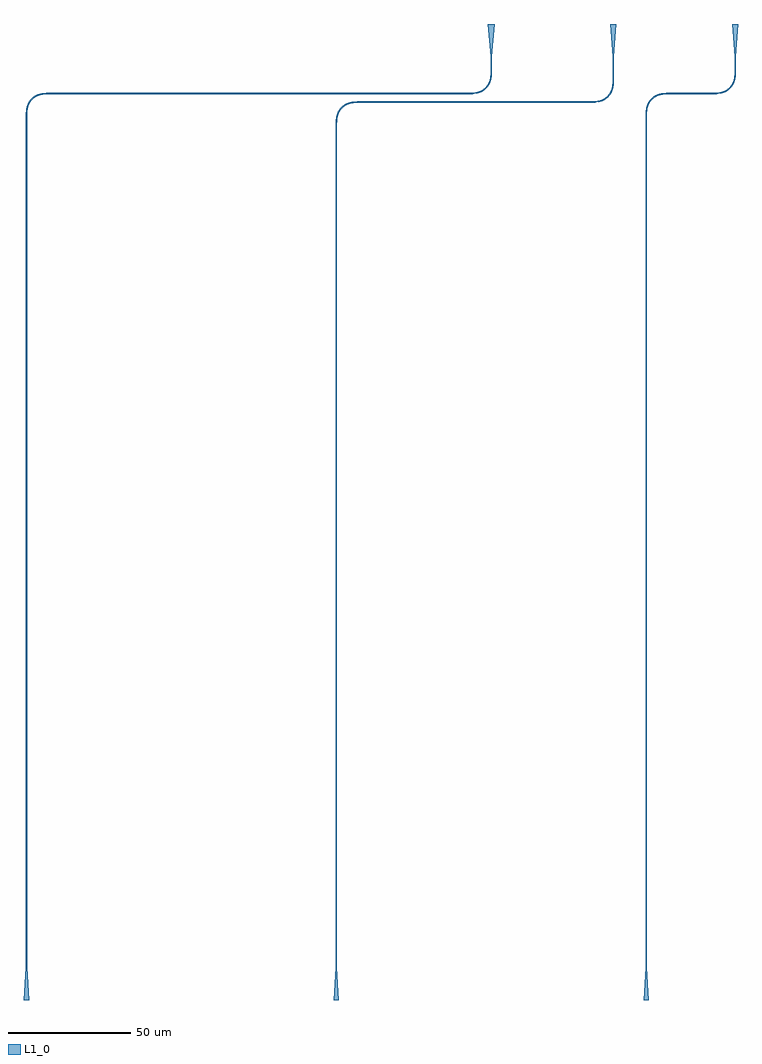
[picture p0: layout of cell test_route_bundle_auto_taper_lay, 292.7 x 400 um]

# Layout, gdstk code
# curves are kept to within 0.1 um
from math import pi, radians
import gdstk
lib = gdstk.Library(unit=1e-6, precision=1e-09)
def R(c, l, rs):  # rectangles x0, y0, x1, y1
    for r in rs: c.add(gdstk.rectangle(r[:2], r[2:], *l))
def P(c, l, *ps):  # polygons
    for p in ps: c.add(gdstk.Polygon(p, *l))
L1_0 = (1, 0)

taper_gdsfactorypcompon_ = lib.new_cell('taper_gdsfactorypcompon_380f8db8')
P(taper_gdsfactorypcompon_, L1_0, [(0,-1.35),(0,1.35),(13.5,0.25),(13.5,-0.25)])

c_taper_gdsfactorypcompon_ = lib.new_cell('taper_gdsfactorypcompon_f1aa99f8')
P(c_taper_gdsfactorypcompon_, L1_0, [(0,-1.25),(0,1.25),(13.5,0.25),(13.5,-0.25)])

c_taper_gdsfactorypcompon__ = lib.new_cell('taper_gdsfactorypcompon_1325192e')
P(c_taper_gdsfactorypcompon__, L1_0, [(0,-1.15),(0,1.15),(13.5,0.25),(13.5,-0.25)])

c_taper_gdsfactorypcompon___ = lib.new_cell('taper_gdsfactorypcompon_51c08482')
P(c_taper_gdsfactorypcompon___, L1_0, [(0,-1.05),(0,1.05),(13.5,0.25),(13.5,-0.25)])

c_taper_gdsfactorypcompon____ = lib.new_cell('taper_gdsfactorypcompon_b21f2ba9')
P(c_taper_gdsfactorypcompon____, L1_0, [(0,-1),(0,1),(13.5,0.25),(13.5,-0.25)])

c_taper_gdsfactorypcompon_____ = lib.new_cell('taper_gdsfactorypcompon_4faf192f')
P(c_taper_gdsfactorypcompon_____, L1_0, [(0,-0.95),(0,0.95),(13.5,0.25),(13.5,-0.25)])

bend_euler_gdsfactorypc_ = lib.new_cell('bend_euler_gdsfactorypc_335c8724')
P(bend_euler_gdsfactorypc_, L1_0, [(0,-0.25),(0,0.25),(2.881,0.353),(3.952,0.52),(4.99,0.806),(6.431,1.505),(7.575,2.425),(8.495,3.569),(9.194,5.01),(9.48,6.048),(9.647,7.119),(9.75,10),(10.25,10),(10.158,7.205),(9.797,5.254),(9.457,4.312),(9.066,3.545),(8.5,2.715),(7.928,2.072),(7.285,1.5),(6.455,0.934),(5.688,0.543),(4.746,0.203),(2.795,-0.158)])

straight_gdsfactorypcom_ = lib.new_cell('straight_gdsfactorypcom_f5657628')
R(straight_gdsfactorypcom_, L1_0, [(0,-0.25,5,0.25)])

c_straight_gdsfactorypcom_ = lib.new_cell('straight_gdsfactorypcom_b68ddca7')
R(c_straight_gdsfactorypcom_, L1_0, [(0,-0.25,170.5,0.25)])

c_straight_gdsfactorypcom__ = lib.new_cell('straight_gdsfactorypcom_611aac32')
R(c_straight_gdsfactorypcom__, L1_0, [(0,-0.25,348,0.25)])

c_straight_gdsfactorypcom___ = lib.new_cell('straight_gdsfactorypcom_29adfe89')
R(c_straight_gdsfactorypcom___, L1_0, [(0,-0.25,8.5,0.25)])

c_straight_gdsfactorypcom____ = lib.new_cell('straight_gdsfactorypcom_93da4bd5')
R(c_straight_gdsfactorypcom____, L1_0, [(0,-0.25,93.5,0.25)])

c_straight_gdsfactorypcom_____ = lib.new_cell('straight_gdsfactorypcom_8afcfdbf')
R(c_straight_gdsfactorypcom_____, L1_0, [(0,-0.25,344.5,0.25)])

c_straight_gdsfactorypcom______ = lib.new_cell('straight_gdsfactorypcom_57f51bfc')
R(c_straight_gdsfactorypcom______, L1_0, [(0,-0.25,16.5,0.25)])

test_route_bundle_auto_t = lib.new_cell('test_route_bundle_auto_taper_lay')
test_route_bundle_auto_t.add(gdstk.Reference(taper_gdsfactorypcompon_, (0,0), rotation=3*pi/2))
test_route_bundle_auto_t.add(gdstk.Reference(c_taper_gdsfactorypcompon_, (50,0), rotation=3*pi/2))
test_route_bundle_auto_t.add(gdstk.Reference(c_taper_gdsfactorypcompon__, (100,0), rotation=3*pi/2))
test_route_bundle_auto_t.add(gdstk.Reference(c_taper_gdsfactorypcompon___, (-190.5,-400), rotation=pi/2))
test_route_bundle_auto_t.add(gdstk.Reference(c_taper_gdsfactorypcompon____, (-63.5,-400), rotation=pi/2))
test_route_bundle_auto_t.add(gdstk.Reference(c_taper_gdsfactorypcompon_____, (63.5,-400), rotation=pi/2))
test_route_bundle_auto_t.add(gdstk.Reference(bend_euler_gdsfactorypc_, (-10,-28.5)))
test_route_bundle_auto_t.add(gdstk.Reference(straight_gdsfactorypcom_, (0,-13.5), rotation=3*pi/2))
test_route_bundle_auto_t.add(gdstk.Reference(bend_euler_gdsfactorypc_, (-190.5,-38.5), rotation=pi/2, x_reflection=True))
test_route_bundle_auto_t.add(gdstk.Reference(c_straight_gdsfactorypcom_, (-10,-28.5), rotation=pi))
test_route_bundle_auto_t.add(gdstk.Reference(c_straight_gdsfactorypcom__, (-190.5,-38.5), rotation=3*pi/2))
test_route_bundle_auto_t.add(gdstk.Reference(bend_euler_gdsfactorypc_, (40,-32)))
test_route_bundle_auto_t.add(gdstk.Reference(c_straight_gdsfactorypcom___, (50,-13.5), rotation=3*pi/2))
test_route_bundle_auto_t.add(gdstk.Reference(bend_euler_gdsfactorypc_, (-63.5,-42), rotation=pi/2, x_reflection=True))
test_route_bundle_auto_t.add(gdstk.Reference(c_straight_gdsfactorypcom____, (40,-32), rotation=pi))
test_route_bundle_auto_t.add(gdstk.Reference(c_straight_gdsfactorypcom_____, (-63.5,-42), rotation=3*pi/2))
test_route_bundle_auto_t.add(gdstk.Reference(bend_euler_gdsfactorypc_, (90,-28.5)))
test_route_bundle_auto_t.add(gdstk.Reference(straight_gdsfactorypcom_, (100,-13.5), rotation=3*pi/2))
test_route_bundle_auto_t.add(gdstk.Reference(bend_euler_gdsfactorypc_, (63.5,-38.5), rotation=pi/2, x_reflection=True))
test_route_bundle_auto_t.add(gdstk.Reference(c_straight_gdsfactorypcom______, (90,-28.5), rotation=pi))
test_route_bundle_auto_t.add(gdstk.Reference(c_straight_gdsfactorypcom__, (63.5,-38.5), rotation=3*pi/2))

lib.write_gds('test_route_bundle_auto_taper_lay.gds')
